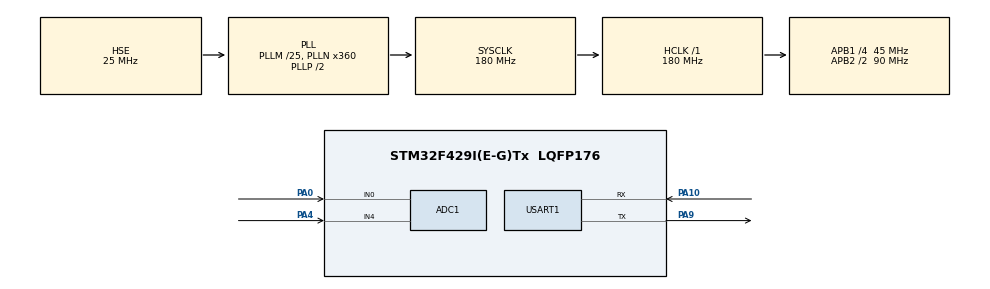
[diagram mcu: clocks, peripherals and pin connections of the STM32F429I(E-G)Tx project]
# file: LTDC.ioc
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ADC1.Channel-0\#ChannelRegularConversion=ADC_CHANNEL_0
ADC1.Channel-1\#ChannelRegularConversion=ADC_CHANNEL_4
ADC1.Channel-2\#ChannelRegularConversion=ADC_CHANNEL_TEMPSENSOR
ADC1.InjNumberOfConversion=0
ADC1.NbrOfConversion=3
ADC1.NbrOfConversionFlag=1
ADC1.Rank-0\#ChannelRegularConversion=1
ADC1.Rank-1\#ChannelRegularConversion=2
ADC1.Rank-2\#ChannelRegularConversion=3
ADC1.SamplingTime-0\#ChannelRegularConversion=ADC_SAMPLETIME_480CYCLES
ADC1.SamplingTime-1\#ChannelRegularConversion=ADC_SAMPLETIME_480CYCLES
ADC1.SamplingTime-2\#ChannelRegularConversion=ADC_SAMPLETIME_480CYCLES
ADC1.master=1
Dma.ADC1.0.Direction=DMA_PERIPH_TO_MEMORY
Dma.ADC1.0.FIFOMode=DMA_FIFOMODE_DISABLE
Dma.ADC1.0.Instance=DMA2_Stream0
Dma.ADC1.0.MemDataAlignment=DMA_MDATAALIGN_HALFWORD
Dma.ADC1.0.MemInc=DMA_MINC_ENABLE
Dma.ADC1.0.Mode=DMA_CIRCULAR
Dma.ADC1.0.PeriphDataAlignment=DMA_PDATAALIGN_HALFWORD
Dma.ADC1.0.PeriphInc=DMA_PINC_DISABLE
Dma.ADC1.0.Priority=DMA_PRIORITY_HIGH
Dma.Request0=ADC1
Mcu.Family=STM32F4
Mcu.Name=STM32F429I(E-G)Tx
Mcu.Package=LQFP176
NVIC.ADC_IRQn=true\:0\:0\:false\:false\:true\:true\:true\:true
NVIC.DMA2_Stream0_IRQn=true\:0\:0\:false\:false\:true\:false\:true\:true
NVIC.PriorityGroup=NVIC_PRIORITYGROUP_4
NVIC.TIM6_DAC_IRQn=true\:0\:0\:false\:false\:true\:true\:true\:true
NVIC.USART1_IRQn=true\:0\:0\:false\:false\:true\:true\:true\:true
PA0/WKUP.Signal=ADCx_IN0
PA10.Mode=Asynchronous
PA10.Signal=USART1_RX
PA4.Signal=ADCx_IN4
PA9.GPIO_PuPd=GPIO_PULLUP
PA9.Mode=Asynchronous
PA9.Signal=USART1_TX
PC14/OSC32_IN.Mode=LSE-External-Oscillator
PC14/OSC32_IN.Signal=RCC_OSC32_IN
PC15/OSC32_OUT.Mode=LSE-External-Oscillator
PC15/OSC32_OUT.Signal=RCC_OSC32_OUT
PH0/OSC_IN.Mode=HSE-External-Oscillator
PH0/OSC_IN.Signal=RCC_OSC_IN
PH1/OSC_OUT.Mode=HSE-External-Oscillator
PH1/OSC_OUT.Signal=RCC_OSC_OUT
ProjectManager.HeapSize=0x200
ProjectManager.StackSize=0x400
ProjectManager.TargetToolchain=EWARM V8.50
RCC.48MHZClocksFreq_Value=90000000
RCC.AHBFreq_Value=180000000
RCC.APB1CLKDivider=RCC_HCLK_DIV4
RCC.APB1Freq_Value=45000000
RCC.APB1TimFreq_Value=90000000
RCC.APB2CLKDivider=RCC_HCLK_DIV2
RCC.APB2Freq_Value=90000000
RCC.APB2TimFreq_Value=180000000
RCC.CortexFreq_Value=180000000
RCC.HCLKFreq_Value=180000000
RCC.HSE_VALUE=25000000
RCC.HSI_VALUE=16000000
RCC.PLLM=25
RCC.PLLN=360
RCC.PLLSourceVirtual=RCC_PLLSOURCE_HSE
RCC.SYSCLKFreq_VALUE=180000000
RCC.SYSCLKSource=RCC_SYSCLKSOURCE_PLLCLK
RCC.VCOOutputFreq_Value=360000000
SH.ADCx_IN0.0=ADC1_IN0,IN0
SH.ADCx_IN4.0=ADC1_IN4,IN4
TIM6.Period=9000-1
TIM6.Prescaler=10-1
USART1.VirtualMode=VM_ASYNC
VP_ADC1_TempSens_Input.Mode=IN-TempSens
VP_TIM6_VS_ClockSourceINT.Mode=Enable_Timer
board=custom

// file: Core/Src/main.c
/* USER CODE BEGIN Header */
/**
  ******************************************************************************
  * @file           : main.c
  * @brief          : Main program body
  ******************************************************************************
  * @attention
  *
  * Copyright (c) 2025 STMicroelectronics.
  * All rights reserved.
  *
  * This software is licensed under terms that can be found in the LICENSE file
  * in the root directory of this software component.
  * If no LICENSE file comes with this software, it is provided AS-IS.
  *
  ******************************************************************************
  */
/* USER CODE END Header */
#include "main.h"
#include "adc.h"
#include "dma.h"
#include "tim.h"
#include "usart.h"
#include "gpio.h"

/* USER CODE BEGIN Includes */
#include "sys.h"
#include "delay.h"
#include "led.h"
#include "key.h"
#include "ltdc.h"
#include "lcd.h"
#include "sdram.h"
#include "lvgl.h"
#include "lv_port_indev_template.h"
#include "lv_port_disp_template.h"
#include "heu_logo.h"
#include "touch.h"
/* USER CODE END Includes */

/* USER CODE BEGIN PV */
lv_obj_t *title;
lv_obj_t *temp_label;
lv_obj_t *scroll_test_label;
lv_timer_t *temp_timer;
lv_obj_t *temp_chart;
lv_obj_t *sampling_time;
lv_obj_t *screen1;
lv_obj_t *screen2;
lv_obj_t *btn_scr1_next_page;
lv_obj_t *btn_scr2_prev_page;
lv_obj_t *dc_bus_voltage_label;
float temp = 0;   /* MCU internal temperature */
float u_dc = 0;   /* DC bus voltage*/
#define TEMP_SAMPLING_TIME 500    /* LVGL timer trigger interval, in ms */
/* USER CODE END PV */

void SystemClock_Config(void);

/* USER CODE BEGIN 0 */

/**
    @brief LVGL timer trigger callback
    @param timer:LVGL timer event
    @note LVGL does not support the display of float and double types by default. To display them, must enable LV_SPRINTF_CUSTOM in lv_conf.h
    @return NULL
*/
void temp_timer_update_callback(lv_timer_t *timer)
{
  static lv_coord_t last_point = 0;
  static lv_chart_series_t *ser1;   /* new chart series */
  temp = read_values(10)[2];   /* read averaged temperature from ADC */
  u_dc = read_values(10)[0];   /* read averaged dc bus voltage from ADC */
  lv_label_set_recolor(temp_label, true);   /* enable temp_label recolor */
  lv_label_set_recolor(dc_bus_voltage_label, true);   /* enable dc bus voltage label recolor */

  if (temp < 40)    /* label set to GREEN if temp < 40 deg */
  {
    lv_label_set_text_fmt(temp_label, "Temperature is: #00FF00 %.2f# C", temp);    /* update label */
  }
  else              /* label set to RED if temp > 40 deg */
  {
    lv_label_set_text_fmt(temp_label, "Temperature is: #FF0000 %.2f# C", temp);    /* update label */
  }

  lv_label_set_text_fmt(dc_bus_voltage_label, "DC bus voltage is: %.2f V", u_dc);

  // /* create new series for chart1 as Y axis, color GREY */
  // if (ser1 == NULL)
  // {
  //   ser1 = lv_chart_add_series(temp_chart, lv_palette_main(LV_PALETTE_GREY), LV_CHART_AXIS_PRIMARY_Y);
  // }
  // lv_chart_set_next_value(temp_chart, ser1, temp);    /* Update temp to the next value in ser1 */
  // lv_chart_refresh(temp_chart);                       /* update chart */
}

/**
    @brief LVGL button event callback
    @param e: event
    @note DO NOT use other methods to switch the page except add/clear flag, otherwise program may freeze
    @return NULL
*/
static void btn_switch_scr_cb(lv_event_t *e)
{
  lv_obj_t *target = lv_event_get_target(e);

  if (target == btn_scr1_next_page)   /* if event is triggered by btn_scr1_next_page */
  {
    lv_obj_add_flag(screen1, LV_OBJ_FLAG_HIDDEN);   /* hid screen1 */
    lv_obj_clear_flag(screen2, LV_OBJ_FLAG_HIDDEN); /* display screen2 */
    lv_scr_load_anim(screen2, LV_SCR_LOAD_ANIM_MOVE_LEFT, 200, 0, false);  /* dynamic load screen2 */
  }
  else if (target == btn_scr2_prev_page)    /* if event is triggered by btn_scr2_prev_page */
  {
    lv_obj_add_flag(screen2, LV_OBJ_FLAG_HIDDEN);     /* hid screen2 */
    lv_obj_clear_flag(screen1, LV_OBJ_FLAG_HIDDEN);   /* display screen1 */
    lv_scr_load_anim(screen1, LV_SCR_LOAD_ANIM_MOVE_RIGHT, 200, 0, false);  /* dynamic load screen1 */
  }
}

/**
    @brief LVGL create screen 1 as parent
    @param NULL
    @return NULL
*/
void create_screen_1(void)
{
  /* create screen 1 */
  screen1 = lv_obj_create(NULL);
  lv_obj_set_size(screen1, 1280, 800);    /* object size = screen size */

  /* screen 1 widgets */
  /* create title label */
  title = lv_label_create(screen1);
  lv_label_set_text_fmt(title, "MVDC IPS Fault detection system");
  lv_obj_align(title, LV_ALIGN_TOP_MID, 0, lv_pct(3));
  lv_obj_set_style_text_font(title, &lv_font_montserrat_40, NULL);

  /* create temperature label */
  temp_label = lv_label_create(screen1);
  lv_label_set_text_fmt(temp_label, "Temperature is: -- C");
  lv_obj_align(temp_label, LV_ALIGN_TOP_LEFT, lv_pct(10), lv_pct(15));
  lv_obj_set_style_text_font(temp_label, &lv_font_montserrat_32, NULL);

  /* create dc bus voltage label */
  dc_bus_voltage_label = lv_label_create(screen1);
  lv_label_set_text_fmt(dc_bus_voltage_label, "DC bus voltage is: -- V");
  lv_obj_align(dc_bus_voltage_label, LV_ALIGN_TOP_LEFT, lv_pct(10), lv_pct(25));
  lv_obj_set_style_text_font(dc_bus_voltage_label, &lv_font_montserrat_32, NULL);

  /* create sampling time label */
  sampling_time = lv_label_create(screen1);
  lv_label_set_text_fmt(sampling_time, "Current sampling interval: %d ms", TEMP_SAMPLING_TIME);
  lv_obj_align(sampling_time, LV_ALIGN_BOTTOM_MID, 0, 0);
  lv_obj_set_style_text_font(sampling_time, &lv_font_montserrat_32, NULL);

  /* scroll bar, may occupt 15% CPU resource, DO NOT enable unless necessary */
  // scroll_test_label = lv_label_create(lv_scr_act());
  // lv_label_set_long_mode(scroll_test_label, LV_LABEL_LONG_SCROLL_CIRCULAR);
  // lv_obj_set_width(scroll_test_label, 300);
  // lv_label_set_text_fmt(scroll_test_label, "This is a scrolling label test...If you see this message, testing is in progress");
  // lv_obj_align(scroll_test_label, LV_ALIGN_BOTTOM_MID, 0, 0);
  // lv_obj_set_style_text_font(scroll_test_label, &lv_font_montserrat_32, NULL);

  /* create temperature chart */
  // temp_chart = lv_chart_create(screen1);
  // lv_obj_set_size(temp_chart, 900, 300);    /* chart size */
  // lv_obj_center(temp_chart);
  // lv_chart_set_type(temp_chart, LV_CHART_TYPE_LINE);    /* chart type */
  // lv_chart_set_range(temp_chart, LV_CHART_AXIS_PRIMARY_Y, 25, 45);    /* Y axis range: 25 - 45 */
  // lv_chart_set_axis_tick(temp_chart, LV_CHART_AXIS_PRIMARY_Y, 5, 4, 10, LV_PALETTE_GREY, true, 70); /* Y axis style setting */
  // lv_chart_set_point_count(temp_chart, 100);    /* max 100 samping points in chart */

  /* chreate "next page" button for screen1 */
  btn_scr1_next_page = lv_obj_create(screen1);
  lv_obj_set_size(btn_scr1_next_page, 100, 50);
  lv_obj_align(btn_scr1_next_page, LV_ALIGN_TOP_RIGHT, 0, 0);
  lv_obj_t *btn_scr1_next_page_label = lv_label_create(btn_scr1_next_page);          /* label of this button, as child */
  lv_label_set_text(btn_scr1_next_page_label, "Next");
  lv_obj_set_style_text_font(btn_scr1_next_page_label, &lv_font_montserrat_22, 0);
  lv_obj_clear_flag(btn_scr1_next_page, LV_OBJ_FLAG_SCROLLABLE);        /* disable scroll bar */
  lv_obj_center(btn_scr1_next_page_label);
  lv_obj_set_style_bg_color(btn_scr1_next_page, lv_palette_main(LV_PALETTE_GREY), NULL);    /* filled button with GREY */
  lv_obj_add_event_cb(btn_scr1_next_page, btn_switch_scr_cb, LV_EVENT_CLICKED, NULL);       /* link button event callback after clicked */
}

/**
    @brief LVGL create screen 2 as parent
    @param NULL
    @return NULL
*/
void create_screen_2(void)
{
  /* create screen 2 */
  screen2 = lv_obj_create(NULL);
  lv_obj_set_size(screen2, 1280, 800);

  /* create image, from heu_logo.c */
  lv_obj_t *bg_img = lv_img_create(screen2);
  lv_img_set_src(bg_img, &heu_logo);
  lv_obj_align(bg_img, LV_ALIGN_CENTER, 0, 0);
  lv_obj_set_style_opa(bg_img, LV_OPA_50, 0);   /* Opacity is 50% */

  /* create "prev page" button for screen2 */
  btn_scr2_prev_page = lv_obj_create(screen2);
  lv_obj_set_size(btn_scr2_prev_page, 100, 50);
  lv_obj_align(btn_scr2_prev_page, LV_ALIGN_TOP_LEFT, 0, 0);
  lv_obj_t *btn_scr2_prev_page_label = lv_label_create(btn_scr2_prev_page);
  lv_label_set_text(btn_scr2_prev_page_label, "Prev");
  lv_obj_set_style_text_font(btn_scr2_prev_page_label, &lv_font_montserrat_22, 0);
  lv_obj_clear_flag(btn_scr2_prev_page, LV_OBJ_FLAG_SCROLLABLE);
  lv_obj_center(btn_scr2_prev_page_label);
  lv_obj_set_style_bg_color(btn_scr2_prev_page, lv_palette_main(LV_PALETTE_GREY), NULL);
  lv_obj_add_event_cb(btn_scr2_prev_page, btn_switch_scr_cb, LV_EVENT_CLICKED, NULL);
}

/* USER CODE END 0 */

int main(void)
{

  /* MCU Configuration--------------------------------------------------------*/

  /* Reset of all peripherals, Initializes the Flash interface and the Systick. */
  HAL_Init();

  /* USER CODE BEGIN Init */
  delay_init(180);
  lv_init();    /* initialize LVGL */
  lv_port_disp_init();    /* reg disp equipment */
  lv_port_indev_init();   /* reg indev equipment */
  led_init();
  key_init();
  sdram_init();
  lcd_init();
  tp_dev.init();          /* initialize indev screen, NOTE：IAR does not have microlib, DO delete printf() in ft5206.c and gt9xxx.c otherwise MCU may freeze */
  /* USER CODE END Init */

  /* Configure the system clock */
  SystemClock_Config();

  /* Initialize all configured peripherals */
  MX_GPIO_Init();
  MX_DMA_Init();
  MX_USART1_UART_Init();
  MX_ADC1_Init();
  MX_TIM6_Init();
  /* USER CODE BEGIN 2 */
  create_screen_1();
  create_screen_2();
  lv_scr_load(screen1);    /* load screen1 when first startup */

  /* create LVGL timer */
  /* NOTE: confirm TIM6 is enabled and STARTED! */
  temp_timer = lv_timer_create(temp_timer_update_callback, TEMP_SAMPLING_TIME, 0);
  /* USER CODE END 2 */

  /* Infinite loop */
  while (1)
  {

    /* USER CODE BEGIN 3 */

    lv_timer_handler();   /* DO NOT delete this! */
    delay_ms(5);
  }
  /* USER CODE END 3 */
}

void SystemClock_Config(void)
{
  RCC_OscInitTypeDef RCC_OscInitStruct = {0};
  RCC_ClkInitTypeDef RCC_ClkInitStruct = {0};

  /** Configure the main internal regulator output voltage
  */
  __HAL_RCC_PWR_CLK_ENABLE();
  __HAL_PWR_VOLTAGESCALING_CONFIG(PWR_REGULATOR_VOLTAGE_SCALE1);

  /** Initializes the RCC Oscillators according to the specified parameters
  * in the RCC_OscInitTypeDef structure.
  */
  RCC_OscInitStruct.OscillatorType = RCC_OSCILLATORTYPE_HSE;
  RCC_OscInitStruct.HSEState = RCC_HSE_ON;
  RCC_OscInitStruct.PLL.PLLState = RCC_PLL_ON;
  RCC_OscInitStruct.PLL.PLLSource = RCC_PLLSOURCE_HSE;
  RCC_OscInitStruct.PLL.PLLM = 25;
  RCC_OscInitStruct.PLL.PLLN = 360;
  RCC_OscInitStruct.PLL.PLLP = RCC_PLLP_DIV2;
  RCC_OscInitStruct.PLL.PLLQ = 4;
  if (HAL_RCC_OscConfig(&RCC_OscInitStruct) != HAL_OK)
  {
    Error_Handler();
  }

  /** Activate the Over-Drive mode
  */
  if (HAL_PWREx_EnableOverDrive() != HAL_OK)
  {
    Error_Handler();
  }

  /** Initializes the CPU, AHB and APB buses clocks
  */
  RCC_ClkInitStruct.ClockType = RCC_CLOCKTYPE_HCLK|RCC_CLOCKTYPE_SYSCLK
                              |RCC_CLOCKTYPE_PCLK1|RCC_CLOCKTYPE_PCLK2;
  RCC_ClkInitStruct.SYSCLKSource = RCC_SYSCLKSOURCE_PLLCLK;
  RCC_ClkInitStruct.AHBCLKDivider = RCC_SYSCLK_DIV1;
  RCC_ClkInitStruct.APB1CLKDivider = RCC_HCLK_DIV4;
  RCC_ClkInitStruct.APB2CLKDivider = RCC_HCLK_DIV2;

  if (HAL_RCC_ClockConfig(&RCC_ClkInitStruct, FLASH_LATENCY_5) != HAL_OK)
  {
    Error_Handler();
  }
}

void Error_Handler(void)
{
  __disable_irq();
  while (1)
  {
  }
}
